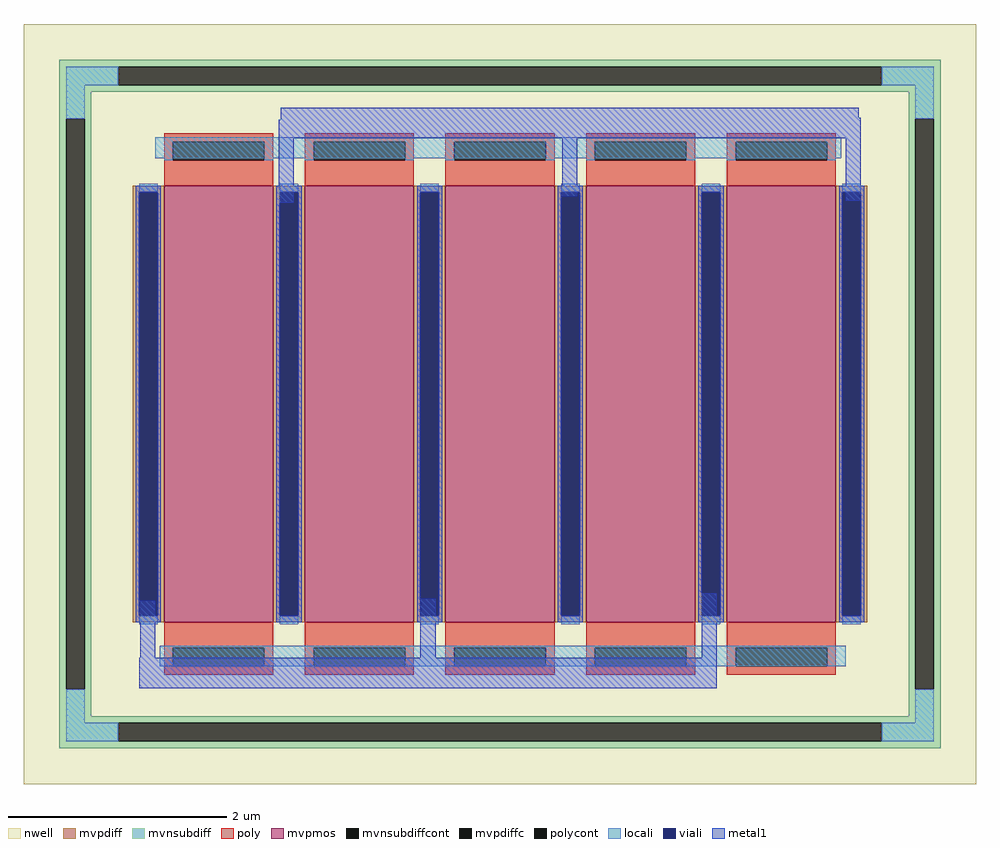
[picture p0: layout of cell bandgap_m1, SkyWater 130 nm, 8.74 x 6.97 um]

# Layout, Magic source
magic
tech sky130A
magscale 1 2
<< locali >>
rect 132 942 1390 980
rect 140 10 1398 48
<< metal1 >>
rect 362 1016 1422 1034
rect 362 1012 1426 1016
rect 358 978 1426 1012
rect 358 860 386 978
rect 878 872 906 978
rect 1398 864 1426 978
rect 104 26 132 130
rect 618 26 646 134
rect 1134 26 1162 144
rect 102 -30 1162 26
use sky130_fd_pr__pfet_g5v0d10v5_P62BBU  sky130_fd_pr__pfet_g5v0d10v5_P62BBU_0
transform -1 0 764 0 -1 491
box -874 -697 874 697
<< end >>

# cell sky130_fd_pr__pfet_g5v0d10v5_P62BBU: kit device sky130_fd_pr__pfet_g5v0d10v5, w 4 l 1 m 1 nf 5 diffcov 100 polycov 100 guard 1 glc 1 grc 1 gtc 1 gbc 1 tbcov 100 rlcov 100 topc 1 botc 1 poverlap 0 doverlap 1 lmin 0.50 wmin 0.42 class mosfet compatible {sky130_fd_pr__pfet_01v8 sky130_fd_pr__pfet_01v8_lvt sky130_fd_pr__pfet_01v8_hvt sky130_fd_pr__pfet_g5v0d10v5} full_metal 1 conn_gates 0 viasrc 100 viadrn 100 viagate 100 viagb 0 viagr 0 viagl 0 viagt 0 doports 1
